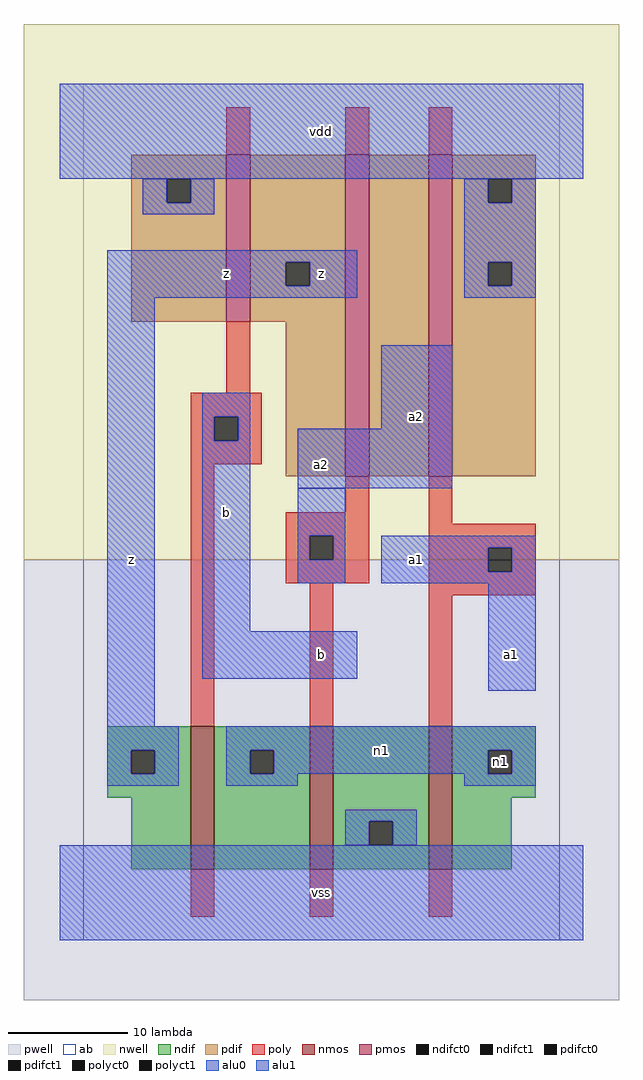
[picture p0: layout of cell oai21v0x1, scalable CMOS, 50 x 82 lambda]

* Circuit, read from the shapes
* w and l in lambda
.subckt oai21v0x1 a1 a2 b n1 vdd vss z
M1 n1 b z VSUBS nfet w=12 l=2
M2 vss a2 n1 VSUBS nfet w=12 l=2
M3 n1 a1 vss VSUBS nfet w=12 l=2
M4 z b vdd n2 pfet w=14 l=2
M5 n3 a2 z n2 pfet w=27 l=2
M6 vdd a1 n3 n2 pfet w=27 l=2
.ends

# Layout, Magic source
magic
tech scmos
<< ab >>
rect 0 0 40 72
<< nwell >>
rect -5 32 45 77
<< pwell >>
rect -5 -5 45 32
<< poly >>
rect 12 66 14 70
rect 22 66 24 70
rect 29 66 31 70
rect 12 46 14 52
rect 9 44 15 46
rect 9 42 11 44
rect 13 42 15 44
rect 9 40 15 42
rect 9 18 11 40
rect 22 36 24 39
rect 17 34 24 36
rect 17 32 19 34
rect 21 32 24 34
rect 17 30 24 32
rect 29 35 31 39
rect 29 33 38 35
rect 29 31 34 33
rect 36 31 38 33
rect 19 18 21 30
rect 29 29 38 31
rect 29 18 31 29
rect 9 2 11 6
rect 19 2 21 6
rect 29 2 31 6
<< ndif >>
rect 2 16 9 18
rect 2 14 4 16
rect 6 14 9 16
rect 2 12 9 14
rect 4 6 9 12
rect 11 16 19 18
rect 11 14 14 16
rect 16 14 19 16
rect 11 6 19 14
rect 21 10 29 18
rect 21 8 24 10
rect 26 8 29 10
rect 21 6 29 8
rect 31 16 38 18
rect 31 14 34 16
rect 36 14 38 16
rect 31 12 38 14
rect 31 6 36 12
<< pdif >>
rect 4 64 12 66
rect 4 62 7 64
rect 9 62 12 64
rect 4 52 12 62
rect 14 57 22 66
rect 14 55 17 57
rect 19 55 22 57
rect 14 52 22 55
rect 17 39 22 52
rect 24 39 29 66
rect 31 64 38 66
rect 31 62 34 64
rect 36 62 38 64
rect 31 57 38 62
rect 31 55 34 57
rect 36 55 38 57
rect 31 39 38 55
<< alu1 >>
rect -2 64 42 72
rect 2 57 23 58
rect 2 55 17 57
rect 19 55 23 57
rect 2 54 23 55
rect 2 18 6 54
rect 10 44 14 46
rect 10 42 11 44
rect 13 42 14 44
rect 25 43 31 50
rect 10 26 14 42
rect 18 38 31 43
rect 25 33 38 34
rect 25 31 34 33
rect 36 31 38 33
rect 25 30 38 31
rect 10 22 23 26
rect 34 21 38 30
rect 2 16 8 18
rect 2 14 4 16
rect 6 14 8 16
rect 2 13 8 14
rect -2 0 42 8
<< nmos >>
rect 9 6 11 18
rect 19 6 21 18
rect 29 6 31 18
<< pmos >>
rect 12 52 14 66
rect 22 39 24 66
rect 29 39 31 66
<< polyct0 >>
rect 19 32 21 34
<< polyct1 >>
rect 11 42 13 44
rect 34 31 36 33
<< ndifct0 >>
rect 14 14 16 16
rect 24 8 26 10
rect 34 14 36 16
<< ndifct1 >>
rect 4 14 6 16
<< pdifct0 >>
rect 7 62 9 64
rect 34 62 36 64
rect 34 55 36 57
<< pdifct1 >>
rect 17 55 19 57
<< alu0 >>
rect 5 62 7 64
rect 9 62 11 64
rect 5 61 11 62
rect 32 62 34 64
rect 36 62 38 64
rect 32 57 38 62
rect 32 55 34 57
rect 36 55 38 57
rect 32 54 38 55
rect 18 34 22 38
rect 18 32 19 34
rect 21 32 22 34
rect 18 30 22 32
rect 12 16 38 18
rect 12 14 14 16
rect 16 14 34 16
rect 36 14 38 16
rect 12 13 18 14
rect 32 13 38 14
rect 22 10 28 11
rect 22 8 24 10
rect 26 8 28 10
<< labels >>
rlabel alu0 25 16 25 16 6 n1
rlabel ndifct0 35 15 35 15 6 n1
rlabel alu1 4 32 4 32 6 z
rlabel alu1 12 36 12 36 6 b
rlabel alu1 12 56 12 56 6 z
rlabel alu1 20 4 20 4 6 vss
rlabel alu1 20 24 20 24 6 b
rlabel alu1 28 32 28 32 6 a1
rlabel alu1 20 40 20 40 6 a2
rlabel alu1 28 44 28 44 6 a2
rlabel alu1 20 56 20 56 6 z
rlabel alu1 20 68 20 68 6 vdd
rlabel alu1 36 24 36 24 6 a1
<< end >>
